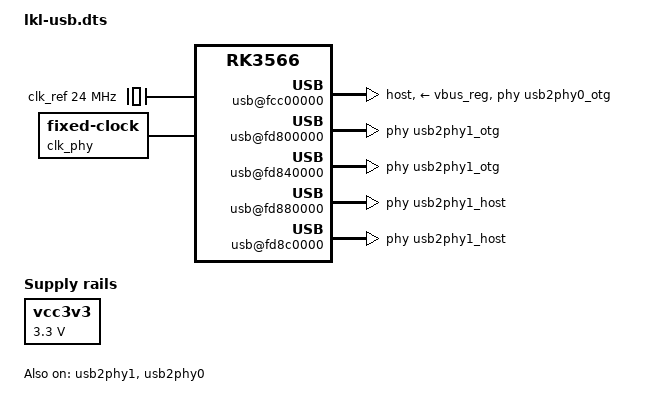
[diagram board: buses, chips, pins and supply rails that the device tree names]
/*
 * Trimmed device tree for the LKL USB family (Orange Pi 3B, RK3566).
 *
 * Two controller groups are described:
 *
 *   fcc00000  USB2 OTG (dwc3) on usb2phy0_otg -- the Type-C port.
 *   fd800000  EHCI + OHCI on usb2phy1_otg      -- USB2 Type-A host 0.
 *   fd880000  EHCI + OHCI on usb2phy1_host     -- USB2 Type-A host 1.
 *
 * The USB3 host at fd000000 also needs the Naneng combphy and the vendor
 * dwc3-rockchip glue; add it once that glue is in the LKL tree.
 *
 * The PHYs and PD_PIPE are handed over already powered by the native
 * side (U-Boot / board init); this tree only describes the windows the
 * guest drivers touch.
 */
/dts-v1/;

/ {
	compatible = "rockchip,rk3566";
	#address-cells = <2>;
	#size-cells = <2>;

	gic: interrupt-controller@fd400000 {
		compatible = "arm,gic-v3";
		reg = <0x0 0xfd400000 0x0 0x10000>,
		      <0x0 0xfd460000 0x0 0x80000>;
		interrupt-controller;
		#interrupt-cells = <3>;
		#address-cells = <0>;
	};

	usb@fcc00000 {
		compatible = "snps,dwc3";
		reg = <0x0 0xfcc00000 0x0 0x400000>;
		interrupt-parent = <&gic>;
		interrupts = <0 169 4>;		/* GIC_SPI 169, LEVEL_HIGH */
		clocks = <&clk_ref>, <&clk_bus>, <&clk_suspend>;
		clock-names = "ref", "bus", "suspend";
		dr_mode = "host";
		maximum-speed = "high-speed";
		phy_type = "utmi_wide";
		snps,dis_u2_susphy_quirk;
		phys = <&usb2phy0_otg>;
		phy-names = "usb2-phy";
		vbus-supply = <&vbus_reg>;
		status = "okay";
	};

	/*
	 * The two USB2 host controllers drive the Type-A ports.  They are
	 * EHCI/OHCI pairs behind the usb2phy1 PHY; usbpower has already
	 * powered the PHY and the CRU gates, so the guest only needs the
	 * controller windows and the PHY node for the generic PHY lookup.
	 */
	usb@fd800000 {
		compatible = "generic-ehci";
		reg = <0x0 0xfd800000 0x0 0x40000>;
		interrupt-parent = <&gic>;
		interrupts = <0 130 4>;		/* GIC_SPI 130 */
		clocks = <&clk_bus>, <&clk_bus>, <&clk_bus>;
		phys = <&usb2phy1_otg>;
		phy-names = "usb";
		status = "okay";
	};

	usb@fd840000 {
		compatible = "generic-ohci";
		reg = <0x0 0xfd840000 0x0 0x40000>;
		interrupt-parent = <&gic>;
		interrupts = <0 131 4>;		/* GIC_SPI 131 */
		clocks = <&clk_bus>, <&clk_bus>, <&clk_bus>;
		phys = <&usb2phy1_otg>;
		phy-names = "usb";
		status = "okay";
	};

	usb@fd880000 {
		compatible = "generic-ehci";
		reg = <0x0 0xfd880000 0x0 0x40000>;
		interrupt-parent = <&gic>;
		interrupts = <0 133 4>;		/* GIC_SPI 133 */
		clocks = <&clk_bus>, <&clk_bus>, <&clk_bus>;
		phys = <&usb2phy1_host>;
		phy-names = "usb";
		status = "okay";
	};

	usb@fd8c0000 {
		compatible = "generic-ohci";
		reg = <0x0 0xfd8c0000 0x0 0x40000>;
		interrupt-parent = <&gic>;
		interrupts = <0 134 4>;		/* GIC_SPI 134 */
		clocks = <&clk_bus>, <&clk_bus>, <&clk_bus>;
		phys = <&usb2phy1_host>;
		phy-names = "usb";
		status = "okay";
	};

	usb2phy1: usb2phy@fe8b0000 {
		compatible = "rockchip,rk3568-usb2phy";
		reg = <0x0 0xfe8b0000 0x0 0x10000>;
		clocks = <&clk_phy>;
		clock-names = "phyclk";
		clock-output-names = "clk_usbphy1_480m";
		#clock-cells = <0>;
		rockchip,usbgrf = <&usb2phy1_grf>;
		status = "okay";

		usb2phy1_otg: otg-port {
			#phy-cells = <0>;
			phy-supply = <&vbus_reg>;
			status = "okay";
		};

		usb2phy1_host: host-port {
			#phy-cells = <0>;
			phy-supply = <&vbus_reg>;
			status = "okay";
		};
	};

	usb2phy1_grf: syscon@fdca8000 {
		compatible = "rockchip,rk3568-usb2phy-grf", "syscon";
		reg = <0x0 0xfdca8000 0x0 0x8000>;
	};

	usb2phy0: usb2phy@fe8a0000 {
		compatible = "rockchip,rk3568-usb2phy";
		reg = <0x0 0xfe8a0000 0x0 0x10000>;
		clocks = <&clk_phy>;
		clock-names = "phyclk";
		clock-output-names = "clk_usbphy0_480m";
		#clock-cells = <0>;
		rockchip,usbgrf = <&usb2phy0_grf>;
		status = "okay";

		usb2phy0_otg: otg-port {
			#phy-cells = <0>;
			phy-supply = <&vcc3v3>;
			status = "okay";
		};
	};

	usb2phy0_grf: syscon@fdca0000 {
		compatible = "rockchip,rk3568-usb2phy-grf", "syscon";
		reg = <0x0 0xfdca0000 0x0 0x8000>;
	};

	clk_ref: ref-clk {
		compatible = "fixed-clock";
		#clock-cells = <0>;
		clock-frequency = <24000000>;
	};

	clk_suspend: suspend-clk {
		compatible = "fixed-clock";
		#clock-cells = <0>;
		clock-frequency = <24000000>;
	};

	clk_bus: bus-clk {
		compatible = "fixed-clock";
		#clock-cells = <0>;
		clock-frequency = <100000000>;
	};

	clk_phy: phy-clk {
		compatible = "fixed-clock";
		#clock-cells = <0>;
		clock-frequency = <480000000>;
	};

	vcc3v3: regulator-3v3 {
		compatible = "regulator-fixed";
		regulator-name = "vcc_3v3";
		regulator-min-microvolt = <3300000>;
		regulator-max-microvolt = <3300000>;
		regulator-always-on;
	};

	/*
	 * VBUS is not a fixed rail: the native usbpower service owns the
	 * GPIOs and PMU/CRU/PHY state.  The guest regulator forwards
	 * enable/disable to that service, so LKL is the control surface
	 * without the guest touching PMU/CRU registers.
	 */
	vbus_reg: regulator-vbus@0 {
		compatible = "harvey,regulator";
		reg = <0x0 0x0 0x0 0x0>;
		regulator-name = "vbus";
		harvey,path = "/srv/usbpower/ctl";
		harvey,status = "/srv/usbpower/status";
		regulator-always-on;
		regulator-boot-on;
	};
};
